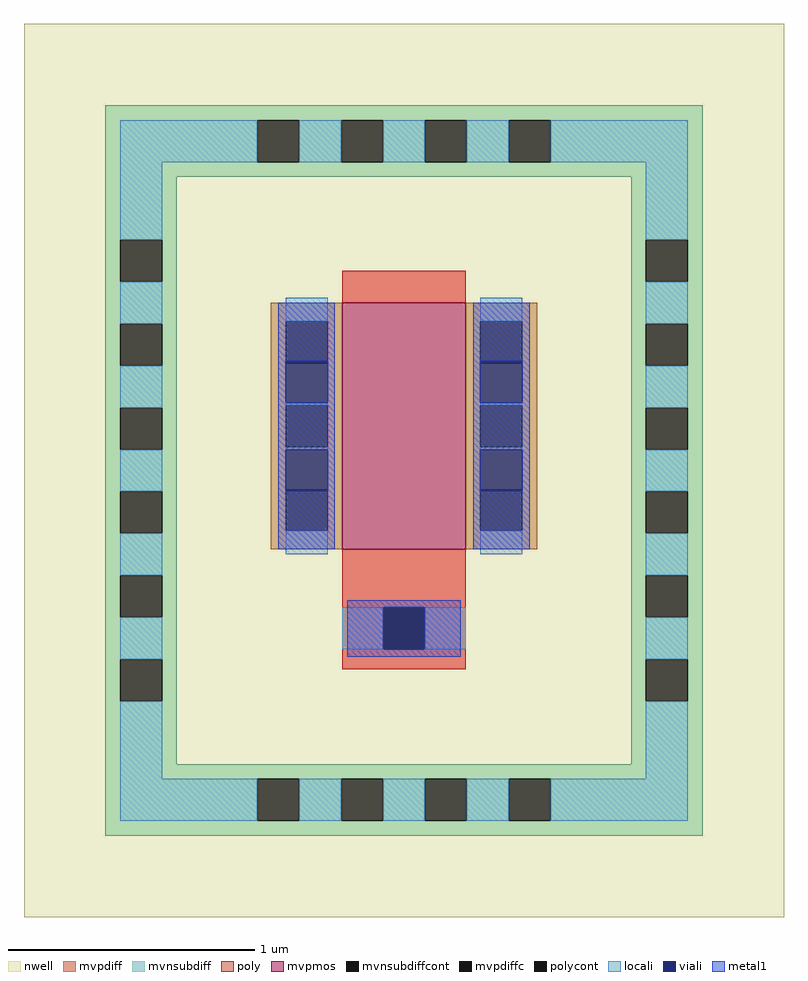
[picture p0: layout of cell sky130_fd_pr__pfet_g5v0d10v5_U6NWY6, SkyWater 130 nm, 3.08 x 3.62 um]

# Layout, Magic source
magic
tech sky130A
magscale 1 2
<< nwell >>
rect -308 -362 308 362
<< mvpmos >>
rect -50 -64 50 136
<< mvpdiff >>
rect -108 121 -50 136
rect -108 87 -96 121
rect -62 87 -50 121
rect -108 53 -50 87
rect -108 19 -96 53
rect -62 19 -50 53
rect -108 -15 -50 19
rect -108 -49 -96 -15
rect -62 -49 -50 -15
rect -108 -64 -50 -49
rect 50 121 108 136
rect 50 87 62 121
rect 96 87 108 121
rect 50 53 108 87
rect 50 19 62 53
rect 96 19 108 53
rect 50 -15 108 19
rect 50 -49 62 -15
rect 96 -49 108 -15
rect 50 -64 108 -49
<< mvpdiffc >>
rect -96 87 -62 121
rect -96 19 -62 53
rect -96 -49 -62 -15
rect 62 87 96 121
rect 62 19 96 53
rect 62 -49 96 -15
<< mvnsubdiff >>
rect -242 284 242 296
rect -242 250 -119 284
rect -85 250 -51 284
rect -17 250 17 284
rect 51 250 85 284
rect 119 250 242 284
rect -242 238 242 250
rect -242 187 -184 238
rect -242 153 -230 187
rect -196 153 -184 187
rect 184 187 242 238
rect -242 119 -184 153
rect 184 153 196 187
rect 230 153 242 187
rect -242 85 -230 119
rect -196 85 -184 119
rect -242 51 -184 85
rect -242 17 -230 51
rect -196 17 -184 51
rect -242 -17 -184 17
rect -242 -51 -230 -17
rect -196 -51 -184 -17
rect -242 -85 -184 -51
rect 184 119 242 153
rect 184 85 196 119
rect 230 85 242 119
rect 184 51 242 85
rect 184 17 196 51
rect 230 17 242 51
rect 184 -17 242 17
rect 184 -51 196 -17
rect 230 -51 242 -17
rect -242 -119 -230 -85
rect -196 -119 -184 -85
rect -242 -153 -184 -119
rect -242 -187 -230 -153
rect -196 -187 -184 -153
rect 184 -85 242 -51
rect 184 -119 196 -85
rect 230 -119 242 -85
rect 184 -153 242 -119
rect -242 -238 -184 -187
rect 184 -187 196 -153
rect 230 -187 242 -153
rect 184 -238 242 -187
rect -242 -250 242 -238
rect -242 -284 -119 -250
rect -85 -284 -51 -250
rect -17 -284 17 -250
rect 51 -284 85 -250
rect 119 -284 242 -250
rect -242 -296 242 -284
<< mvnsubdiffcont >>
rect -119 250 -85 284
rect -51 250 -17 284
rect 17 250 51 284
rect 85 250 119 284
rect -230 153 -196 187
rect 196 153 230 187
rect -230 85 -196 119
rect -230 17 -196 51
rect -230 -51 -196 -17
rect 196 85 230 119
rect 196 17 230 51
rect 196 -51 230 -17
rect -230 -119 -196 -85
rect -230 -187 -196 -153
rect 196 -119 230 -85
rect 196 -187 230 -153
rect -119 -284 -85 -250
rect -51 -284 -17 -250
rect 17 -284 51 -250
rect 85 -284 119 -250
<< poly >>
rect -50 136 50 162
rect -50 -111 50 -64
rect -50 -145 -17 -111
rect 17 -145 50 -111
rect -50 -161 50 -145
<< polycont >>
rect -17 -145 17 -111
<< locali >>
rect -230 250 -119 284
rect -85 250 -51 284
rect -17 250 17 284
rect 51 250 85 284
rect 119 250 230 284
rect -230 187 -196 250
rect -230 119 -196 153
rect 196 187 230 250
rect -230 51 -196 85
rect -230 -17 -196 17
rect -230 -85 -196 -51
rect -96 121 -62 140
rect -96 53 -62 55
rect -96 17 -62 19
rect -96 -68 -62 -49
rect 62 121 96 140
rect 62 53 96 55
rect 62 17 96 19
rect 62 -68 96 -49
rect 196 119 230 153
rect 196 51 230 85
rect 196 -17 230 17
rect 196 -85 230 -51
rect -230 -153 -196 -119
rect -50 -145 -17 -111
rect 17 -145 50 -111
rect -230 -250 -196 -187
rect 196 -153 230 -119
rect 196 -250 230 -187
rect -230 -284 -119 -250
rect -85 -284 -51 -250
rect -17 -284 17 -250
rect 51 -284 85 -250
rect 119 -284 230 -250
<< viali >>
rect -96 87 -62 89
rect -96 55 -62 87
rect -96 -15 -62 17
rect -96 -17 -62 -15
rect 62 87 96 89
rect 62 55 96 87
rect 62 -15 96 17
rect 62 -17 96 -15
rect -17 -145 17 -111
<< metal1 >>
rect -102 89 -56 136
rect -102 55 -96 89
rect -62 55 -56 89
rect -102 17 -56 55
rect -102 -17 -96 17
rect -62 -17 -56 17
rect -102 -64 -56 -17
rect 56 89 102 136
rect 56 55 62 89
rect 96 55 102 89
rect 56 17 102 55
rect 56 -17 62 17
rect 96 -17 102 17
rect 56 -64 102 -17
rect -46 -111 46 -105
rect -46 -145 -17 -111
rect 17 -145 46 -111
rect -46 -151 46 -145
<< properties >>
string FIXED_BBOX -213 -267 213 267
<< end >>
